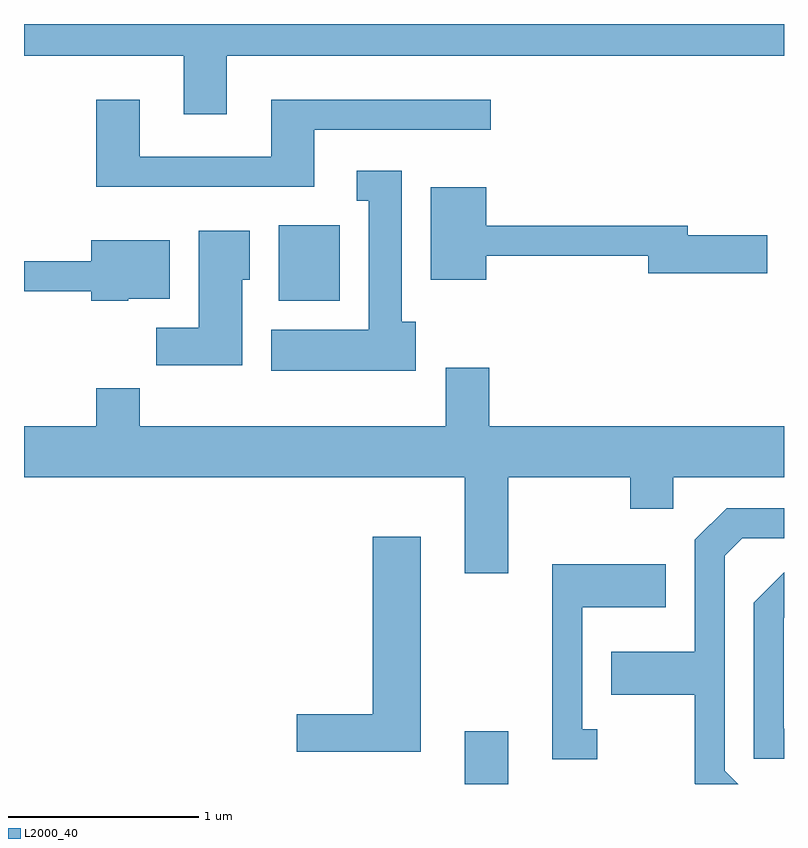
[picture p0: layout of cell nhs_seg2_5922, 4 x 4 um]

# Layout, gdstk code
import gdstk
lib = gdstk.Library(unit=1e-6, precision=1e-09)
def R(c, l, rs):  # rectangles x0, y0, x1, y1
    for r in rs: c.add(gdstk.rectangle(r[:2], r[2:], *l))
def P(c, l, *ps):  # polygons
    for p in ps: c.add(gdstk.Polygon(p, *l))
L2000_40 = (2000, 40)

nhs_seg2_5922 = lib.new_cell('nhs_seg2_5922')
R(nhs_seg2_5922, L2000_40, [(361.931,1057.802,362.159,1058.079), (360.951,1060.346,361.274,1060.744)])
P(nhs_seg2_5922, L2000_40, [(359.611,1061.636),(360.451,1061.636),(360.451,1061.326),(360.679,1061.326),(360.679,1061.636),(363.611,1061.636),(363.611,1061.802),(359.611,1061.802)],
  [(361.139,1061.246),(362.068,1061.246),(362.068,1061.404),(360.911,1061.404),(360.911,1061.104),(360.219,1061.104),(360.219,1061.404),(359.991,1061.404),(359.991,1060.946),(361.139,1060.946)],
  [(361.674,1060.234),(361.599,1060.234),(361.599,1061.029),(361.363,1061.029),(361.363,1060.871),(361.426,1060.871),(361.426,1060.194),(360.911,1060.194),(360.911,1059.976),(361.674,1059.976)],
  [(362.044,1060.581),(362.896,1060.581),(362.896,1060.491),(363.524,1060.491),(363.524,1060.689),(363.104,1060.689),(363.104,1060.739),(362.044,1060.739),(362.044,1060.944),(361.751,1060.944),(361.751,1060.456),(362.044,1060.456)],
  [(360.759,1060.456),(360.799,1060.456),(360.799,1060.714),(360.531,1060.714),(360.531,1060.204),(360.306,1060.204),(360.306,1060.006),(360.759,1060.006)],
  [(360.16,1060.356),(360.379,1060.356),(360.379,1060.664),(359.966,1060.664),(359.966,1060.554),(359.611,1060.554),(359.611,1060.396),(359.966,1060.396),(359.966,1060.346),(360.16,1060.346)],
  [(362.159,1059.416),(362.801,1059.416),(362.801,1059.251),(363.029,1059.251),(363.029,1059.416),(363.611,1059.416),(363.611,1059.684),(362.059,1059.684),(362.059,1059.994),(361.831,1059.994),(361.831,1059.684),(360.219,1059.684),(360.219,1059.884),(359.991,1059.884),(359.991,1059.684),(359.611,1059.684),(359.611,1059.416),(361.931,1059.416),(361.931,1058.911),(362.159,1058.911)],
  [(363.299,1057.872),(363.299,1059.004),(363.392,1059.096),(363.611,1059.096),(363.611,1059.254),(363.309,1059.254),(363.141,1059.087),(363.141,1058.499),(362.701,1058.499),(362.701,1058.271),(363.141,1058.271),(363.141,1057.804),(363.143,1057.802),(363.369,1057.802)],
  [(361.699,1059.104),(361.446,1059.104),(361.446,1058.169),(361.046,1058.169),(361.046,1057.971),(361.699,1057.971)],
  [(362.628,1058.089),(362.549,1058.089),(362.549,1058.731),(362.989,1058.731),(362.989,1058.959),(362.391,1058.959),(362.391,1057.931),(362.628,1057.931)],
  [(363.611,1058.094),(363.609,1058.094),(363.609,1058.674),(363.611,1058.676),(363.611,1058.916),(363.451,1058.757),(363.451,1057.936),(363.611,1057.936)])

lib.write_gds('nhs_seg2_5922.gds')
